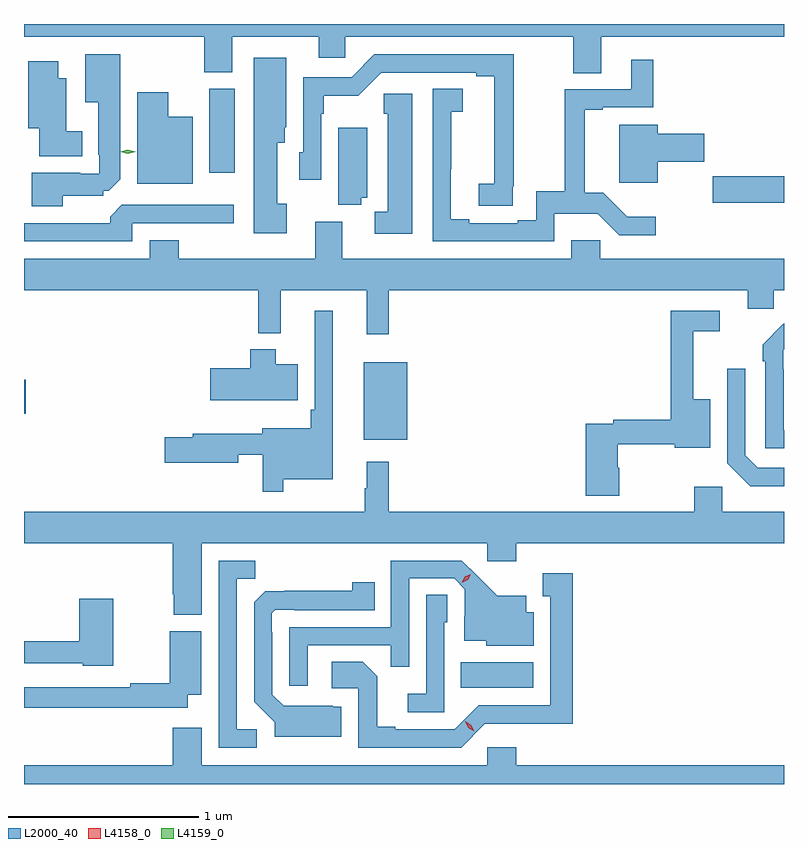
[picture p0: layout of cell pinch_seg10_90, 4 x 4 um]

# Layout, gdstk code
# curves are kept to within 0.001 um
import gdstk
lib = gdstk.Library(unit=1e-6, precision=1e-09)
def R(c, l, rs):  # rectangles x0, y0, x1, y1
    for r in rs: c.add(gdstk.rectangle(r[:2], r[2:], *l))
def P(c, l, *ps):  # polygons
    for p in ps: c.add(gdstk.Polygon(p, *l))
L2000_40 = (2000, 40)
L4158_0 = (4158, 0)
L4159_0 = (4159, 0)

pinch_seg10_90 = lib.new_cell('pinch_seg10_90')
R(pinch_seg10_90, L2000_40, [(731.44,1288.898,731.821,1289.032), (730.931,1290.203,731.158,1290.613), (729.142,1290.341,729.151,1290.519), (732.768,1291.45,733.142,1291.592), (730.118,1291.608,730.252,1292.052)])
P(pinch_seg10_90, L2000_40, [(732.181,1292.324),(733.142,1292.324),(733.142,1292.392),(729.142,1292.392),(729.142,1292.324),(730.09,1292.324),(730.09,1292.137),(730.237,1292.137),(730.237,1292.324),(730.694,1292.324),(730.694,1292.214),(730.833,1292.214),(730.833,1292.324),(732.034,1292.324),(732.034,1292.134),(732.181,1292.134)],
  [(729.346,1291.487),(729.558,1291.487),(729.558,1291.515),(729.589,1291.515),(729.649,1291.575),(729.649,1292.233),(729.464,1292.233),(729.464,1291.979),(729.533,1291.979),(729.533,1291.705),(729.537,1291.705),(729.537,1291.605),(729.437,1291.605),(729.437,1291.609),(729.182,1291.609),(729.182,1291.433),(729.346,1291.433)],
  [(731.714,1291.537),(731.72,1291.537),(731.72,1292.232),(730.986,1292.232),(730.866,1292.112),(730.611,1292.112),(730.611,1291.716),(730.59,1291.716),(730.59,1291.572),(730.707,1291.572),(730.707,1291.919),(730.72,1291.919),(730.72,1292.015),(730.901,1292.015),(731.022,1292.136),(731.522,1292.136),(731.522,1292.116),(731.618,1292.116),(731.617,1291.55),(731.535,1291.55),(731.535,1291.435),(731.714,1291.435)],
  [(730.525,1291.446),(730.474,1291.446),(730.474,1291.766),(730.515,1291.766),(730.515,1291.848),(730.522,1291.848),(730.522,1292.215),(730.352,1292.215),(730.352,1291.29),(730.525,1291.29)],
  [(731.934,1291.394),(732.163,1291.394),(732.276,1291.281),(732.466,1291.281),(732.466,1291.378),(732.317,1291.378),(732.191,1291.504),(732.092,1291.504),(732.092,1291.941),(732.187,1291.941),(732.187,1291.953),(732.455,1291.953),(732.455,1292.203),(732.338,1292.203),(732.338,1292.049),(731.989,1292.049),(731.989,1291.511),(731.838,1291.511),(731.838,1291.358),(731.741,1291.358),(731.741,1291.344),(731.485,1291.344),(731.485,1291.364),(731.389,1291.364),(731.389,1291.627),(731.391,1291.627),(731.391,1291.931),(731.452,1291.931),(731.452,1292.051),(731.292,1292.051),(731.292,1291.248),(731.934,1291.248)],
  [(729.448,1291.828),(729.364,1291.828),(729.364,1292.107),(729.322,1292.107),(729.322,1292.197),(729.164,1292.197),(729.164,1291.844),(729.221,1291.844),(729.221,1291.697),(729.448,1291.697)],
  [(730.03,1291.903),(729.901,1291.903),(729.901,1292.032),(729.737,1292.032),(729.737,1291.55),(730.03,1291.55)],
  [(731.185,1292.026),(731.035,1292.026),(731.035,1291.92),(731.057,1291.92),(731.057,1291.404),(730.989,1291.404),(730.989,1291.289),(731.185,1291.289)],
  [(732.478,1291.667),(732.721,1291.667),(732.721,1291.814),(732.478,1291.814),(732.478,1291.861),(732.275,1291.861),(732.275,1291.556),(732.478,1291.556)],
  [(730.916,1291.478),(730.948,1291.478),(730.948,1291.846),(730.796,1291.846),(730.796,1291.441),(730.916,1291.441)],
  [(729.711,1291.344),(730.246,1291.344),(730.246,1291.44),(729.657,1291.44),(729.596,1291.378),(729.596,1291.344),(729.142,1291.344),(729.142,1291.248),(729.711,1291.248)],
  [(729.956,1291.255),(729.803,1291.255),(729.803,1291.156),(729.142,1291.156),(729.142,1290.992),(730.375,1290.992),(730.375,1290.764),(730.493,1290.764),(730.493,1290.992),(730.946,1290.992),(730.946,1290.759),(731.063,1290.759),(731.063,1290.992),(732.95,1290.992),(732.95,1290.894),(733.089,1290.894),(733.089,1290.992),(733.142,1290.992),(733.142,1291.156),(732.175,1291.156),(732.175,1291.254),(732.023,1291.254),(732.023,1291.156),(730.816,1291.156),(730.816,1291.351),(730.676,1291.351),(730.676,1291.156),(729.956,1291.156)],
  [(730.507,1289.996),(730.768,1289.996),(730.768,1290.883),(730.671,1290.883),(730.671,1290.361),(730.651,1290.361),(730.651,1290.265),(730.397,1290.265),(730.397,1290.235),(730.031,1290.235),(730.031,1290.218),(729.882,1290.218),(729.882,1290.083),(730.27,1290.083),(730.27,1290.126),(730.398,1290.126),(730.398,1289.931),(730.507,1289.931)],
  [(732.276,1290.057),(732.268,1290.057),(732.268,1290.18),(732.566,1290.18),(732.566,1290.161),(732.754,1290.161),(732.754,1290.418),(732.665,1290.418),(732.665,1290.774),(732.805,1290.774),(732.805,1290.882),(732.547,1290.882),(732.547,1290.308),(732.244,1290.308),(732.244,1290.288),(732.098,1290.288),(732.098,1289.909),(732.276,1289.909)],
  [(733.142,1290.255),(733.14,1290.255),(733.14,1290.575),(733.137,1290.575),(733.137,1290.675),(733.142,1290.68),(733.142,1290.816),(733.135,1290.809),(733.134,1290.81),(733.029,1290.705),(733.029,1290.617),(733.044,1290.617),(733.044,1290.159),(733.142,1290.159)],
  [(730.582,1290.601),(730.468,1290.601),(730.468,1290.679),(730.334,1290.679),(730.334,1290.579),(730.122,1290.579),(730.122,1290.413),(730.582,1290.413)],
  [(733.142,1290.057),(733.005,1290.057),(732.939,1290.123),(732.939,1290.577),(732.843,1290.577),(732.843,1290.081),(732.964,1289.96),(733.142,1289.96)],
  [(730.078,1289.66),(731.58,1289.66),(731.58,1289.565),(731.732,1289.565),(731.732,1289.66),(733.142,1289.66),(733.142,1289.824),(732.816,1289.824),(732.816,1289.956),(732.67,1289.956),(732.67,1289.824),(731.063,1289.824),(731.063,1290.088),(730.946,1290.088),(730.946,1289.948),(730.935,1289.948),(730.935,1289.824),(729.142,1289.824),(729.142,1289.66),(729.926,1289.66),(729.926,1289.392),(729.931,1289.392),(729.931,1289.282),(730.078,1289.282)],
  [(730.366,1288.68),(730.263,1288.68),(730.263,1289.473),(730.359,1289.473),(730.359,1289.568),(730.167,1289.568),(730.167,1288.584),(730.366,1288.584)],
  [(730.635,1289.121),(731.071,1289.121),(731.071,1289.008),(731.169,1289.008),(731.169,1289.475),(731.406,1289.475),(731.463,1289.418),(731.463,1289.276),(731.459,1289.276),(731.459,1289.147),(731.574,1289.147),(731.574,1289.12),(731.824,1289.12),(731.824,1289.296),(731.785,1289.296),(731.785,1289.383),(731.633,1289.383),(731.446,1289.568),(731.073,1289.568),(731.073,1289.217),(730.539,1289.217),(730.539,1288.908),(730.635,1288.908)],
  [(731.568,1288.71),(732.031,1288.709),(732.031,1289.5),(731.873,1289.5),(731.873,1289.379),(731.912,1289.379),(731.912,1288.806),(731.535,1288.806),(731.409,1288.68),(731.095,1288.68),(731.095,1288.693),(731.001,1288.693),(731.001,1288.96),(730.925,1289.036),(730.761,1289.036),(730.761,1288.896),(730.902,1288.896),(730.902,1288.584),(731.442,1288.584)],
  [(730.813,1288.798),(730.772,1288.798),(730.766,1288.804),(730.509,1288.803),(730.449,1288.863),(730.449,1289.192),(730.446,1289.192),(730.446,1289.292),(730.464,1289.31),(730.564,1289.31),(730.564,1289.307),(730.988,1289.307),(730.988,1289.455),(730.87,1289.455),(730.87,1289.408),(730.412,1289.407),(730.353,1289.348),(730.353,1288.826),(730.463,1288.716),(730.463,1288.64),(730.813,1288.64)],
  [(731.355,1289.244),(731.37,1289.244),(731.37,1289.387),(731.259,1289.387),(731.259,1288.867),(731.163,1288.867),(731.163,1288.77),(731.355,1288.77)],
  [(729.612,1289.368),(729.434,1289.368),(729.434,1289.144),(729.142,1289.144),(729.142,1289.028),(729.45,1289.028),(729.45,1289.015),(729.612,1289.015)],
  [(730.005,1288.862),(730.075,1288.862),(730.075,1289.197),(729.908,1289.197),(729.908,1288.922),(729.7,1288.922),(729.7,1288.902),(729.142,1288.902),(729.142,1288.794),(730.005,1288.794)],
  [(733.142,1288.492),(731.732,1288.492),(731.732,1288.585),(731.58,1288.585),(731.58,1288.492),(730.078,1288.492),(730.078,1288.687),(729.926,1288.687),(729.926,1288.492),(729.142,1288.492),(729.142,1288.392),(733.142,1288.392)])
P(pinch_seg10_90, L4158_0, [(731.512,1288.669),(731.48,1288.688),(731.464,1288.721),(731.464,1288.721),(731.464,1288.721),(731.495,1288.702),(731.512,1288.669),(731.512,1288.669)],
  [(731.446,1289.452),(731.446,1289.452),(731.463,1289.482),(731.494,1289.497),(731.494,1289.497),(731.494,1289.497),(731.477,1289.467),(731.446,1289.452)])
P(pinch_seg10_90, L4159_0, [(729.689,1291.71),(729.648,1291.72),(729.648,1291.72),(729.648,1291.72),(729.689,1291.73),(729.73,1291.72),(729.73,1291.72),(729.73,1291.72)])

lib.write_gds('pinch_seg10_90.gds')
